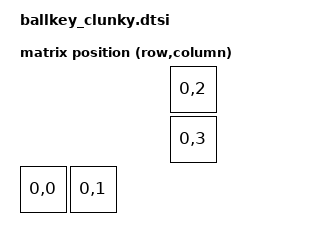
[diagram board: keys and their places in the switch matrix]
/* syntax reference https://docs.zephyrproject.org/latest/build/dts/intro-syntax-structure.html */

#include <physical_layouts.dtsi>
#include <dt-bindings/zmk/matrix_transform.h>
#include <input/processors.dtsi>
#include <dt-bindings/zmk/input_transform.h>

/ {

    default_transform: keymap_transform_0 { /* 将 scan 和到的 matrix 转换成 keymap。比如扫描矩阵可能是 6x6，但键盘的布局可能是 3x12, 此时需要映射 */
        compatible = "zmk,matrix-transform";
        columns = <4>;
        rows = <1>;
        map = <
            RC(0,0)  RC(0,1)  RC(0,2)  RC(0,3)
        >;
    };

    ballkey_clunky_physical_layout: ballkey_clunky_physical_layout {
        compatible = "zmk,physical-layout";
        display-name = "Ballkey Clunky";
        transform = <&default_transform>;
        kscan = <&kscan0>;
        keys  //                     w   h    x    y     rot    rx    ry
            = <&key_physical_attrs 100 100    0  200       0     0     0>
            , <&key_physical_attrs 100 100  100  200       0     0     0>
            , <&key_physical_attrs 100 100  300    0       0     0     0>
            , <&key_physical_attrs 100 100  300  100       0     0     0>
            ;
    };

    trackball_listener {
        compatible = "zmk,input-listener";
        device = <&trackball>;
        scroller {
            layers = <1>;
            input-processors = <&zip_xy_transform INPUT_TRANSFORM_Y_INVERT>, <&zip_xy_thresholder 12>, <&zip_xy_scaler 1 12>, <&zip_xy_to_scroll_mapper>;
        };
    };

    chosen {
        zmk,kscan = &kscan0;
        zmk,physical-layout = &ballkey_clunky_physical_layout;
        zephyr,display = &oled;
    };

};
